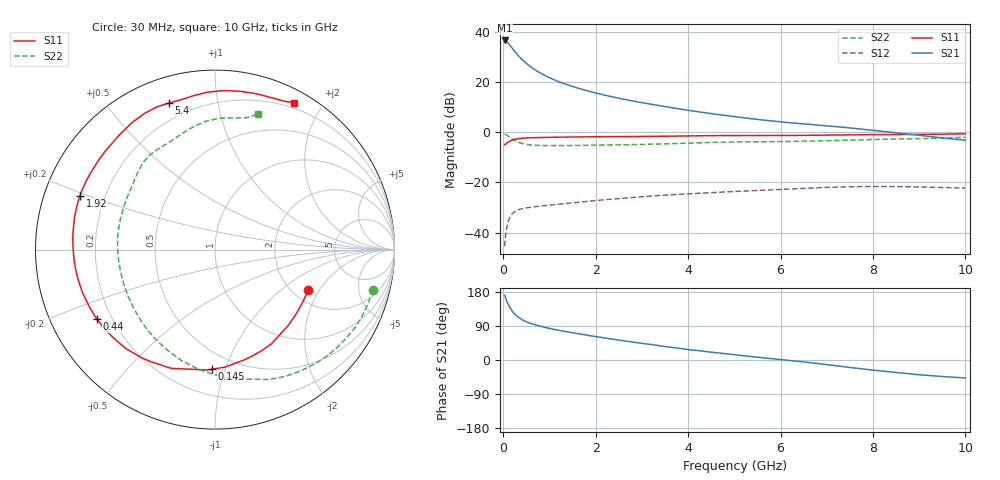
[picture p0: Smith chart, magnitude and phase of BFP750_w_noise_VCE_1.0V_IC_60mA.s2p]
! Infineon Technologies  Discrete & RF Semiconductors
! BFP750
! VCE =  1.0 V,  IC =  60 mA
! Common Emitter S-Parameters:  Jan 2016
# GHz  S  MA  R  50
!  f  S11  S21  S12  S22
! GHz  MAG  ANG  MAG  ANG  MAG  ANG  MAG  ANG
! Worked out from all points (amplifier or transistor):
!   229 points, 30 MHz to 10 GHz, reference 50 ohm
!   highest |S21| = 36.5 dB at 30 MHz (marker M1)
!   |S21| within 3 dB of that: start of sweep to 190.3 MHz
!   unconditionally stable (mu >= 1): 3.146 GHz to end of sweep
!   at 280 MHz: K = 0.20, MSG = 31.4 dB, |S12| = -31.3 dB
!   at 1.78 GHz: K = 0.76, MSG = 22.1 dB, |S12| = -27.6 dB
!   at 10 GHz: K = 1.12, MAG = 7.4 dB, |S12| = -22.2 dB
!   lowest NFmin = 1.14 dB at 450 MHz
!   S11 on the Smith chart (normalised r, x): 30 MHz: 2.40, -1.61; 145 MHz: 0.38, -0.90; 440 MHz: 0.14, -0.27; 1.92 GHz: 0.11, +0.19; 5.4 GHz: 0.12, +0.73; 10 GHz: 0.14, +1.66
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0.03  0.5663 -23.7  66.81 170.6  0.0054 74.2  0.9075 -14.3
0.05  0.578 -39.2  65.89 163.5  0.0089 69.5  0.8996 -24.7
0.07  0.5968 -52.9  64.05 157.2  0.0118 67.0  0.8816 -34.3
0.09  0.6197 -64.9  61.58 151.6  0.0145 62.6  0.8609 -43.5
0.11  0.6367 -75.5  58.65 146.2  0.0171 58.2  0.8354 -52.0
0.145  0.6668 -91.5  53.51 138.1  0.0203 51.4  0.7899 -65.6
0.2  0.7052 -110.2  46.09 127.7  0.0241 43.6  0.7256 -83.2
0.24  0.7199 -119.9  41.49 122.3  0.0259 39.4  0.6865 -93.5
0.3  0.7421 -132.0  35.47 115.1  0.0279 34.6  0.6457 -106.9
0.36  0.752 -140.5  30.89 110.0  0.0293 31.3  0.6145 -117.3
0.44  0.7629 -149.5  26.13 104.3  0.0305 28.2  0.5875 -128.5
0.6  0.7759 -161.8  19.76 96.1  0.0322 24.9  0.5586 -144.4
0.9  0.7875 -175.7  13.44 86.1  0.0346 23.0  0.5417 -162.2
1.2  0.7957 174.7  10.12 78.5  0.0369 22.6  0.5404 -173.6
1.7  0.8071 162.7  7.14 67.8  0.041 22.4  0.5463 173.4
1.92  0.8103 158.2  6.285 63.4  0.0429 22.2  0.5493 168.8
3.4  0.8276 132.0  3.338 37.4  0.0552 16.5  0.5826 142.8
5.1  0.8574 110.8  1.988 12.5  0.0667 7.1  0.6403 124.0
5.4  0.8558 107.6  1.841 8.6  0.0686 5.2  0.6424 120.6
6.8  0.8725 94.7  1.389 -9.2  0.0783 -4.5  0.6696 106.4
8.4  0.8971 76.1  0.995 -31.8  0.083 -19.9  0.7302 88.8
10  0.9292 61.8  0.694 -47.3  0.0773 -31.1  0.7948 72.5
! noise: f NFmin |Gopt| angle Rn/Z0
0.45  1.14  0.21  -168  0.44
0.9  1.16  0.29  -162  0.19
1.5  1.18  0.38  -155  0.09
1.9  1.19  0.41  -150  0.08
2.4  1.2  0.42  -142  0.09
3.5  1.43  0.42  -127  0.12
